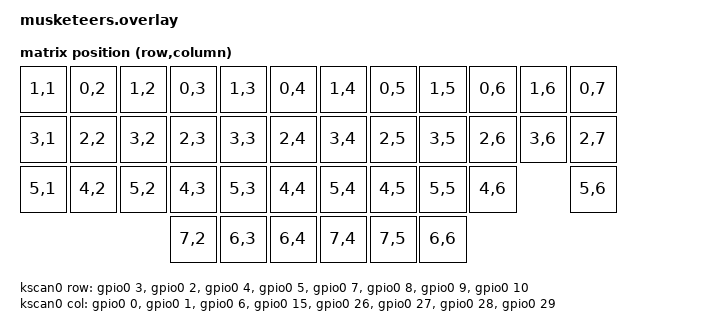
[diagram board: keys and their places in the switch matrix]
#include <dt-bindings/zmk/matrix_transform.h>

/ {
    chosen {
        zmk,kscan = &kscan0;
        zmk,matrix_transform = &default_transform;
    };

    default_transform: keymap_transform_0 {
        compatible = "zmk,matrix-transform";
        columns = <8>;
        rows = <8>;
//             | SW01  | SW02  | SW03  | SW04       SW25  | SW26  | SW27  | SW28  |
//      | SW09 | SW05  | SW06  | SW07  | SW08       SW21  | SW22  | SW23  | SW24  | SW20
//             | SW10  | SW11  | SW12                       SW17  | SW18  | SW19  |
//                             | SW13  | SW14       SW15  | SW16  |
        map = <
        RC(1,1) RC(0,2) RC(1,2) RC(0,3) RC(1,3) RC(0,4) RC(1,4) RC(0,5) RC(1,5) RC(0,6) RC(1,6) RC(0,7)
        RC(3,1) RC(2,2) RC(3,2) RC(2,3) RC(3,3) RC(2,4) RC(3,4) RC(2,5) RC(3,5) RC(2,6) RC(3,6) RC(2,7)
        RC(5,1)    RC(4,2) RC(5,2) RC(4,3) RC(5,3) RC(4,4) RC(5,4) RC(4,5) RC(5,5) RC(4,6)      RC(5,6)
                                RC(7,2) RC(6,3) RC(6,4) RC(7,4) RC(7,5) RC(6,6)
        >;
    };

    kscan0: kscan_0 {
        compatible = "zmk,kscan-gpio-matrix";
        label = "KSCAN";
        diode-direction = "col2row";

        col-gpios
            = <&gpio0 0 GPIO_ACTIVE_HIGH>
            , <&gpio0 1 GPIO_ACTIVE_HIGH>
            , <&gpio0 6 GPIO_ACTIVE_HIGH>
            , <&gpio0 15 GPIO_ACTIVE_HIGH>
            , <&gpio0 26 GPIO_ACTIVE_HIGH>
            , <&gpio0 27 GPIO_ACTIVE_HIGH>
            , <&gpio0 28 GPIO_ACTIVE_HIGH>
            , <&gpio0 29 GPIO_ACTIVE_HIGH>
            ;

        row-gpios
            = <&gpio0 3 (GPIO_ACTIVE_HIGH | GPIO_PULL_DOWN)>
            , <&gpio0 2 (GPIO_ACTIVE_HIGH | GPIO_PULL_DOWN)>
            , <&gpio0 4 (GPIO_ACTIVE_HIGH | GPIO_PULL_DOWN)>
            , <&gpio0 5 (GPIO_ACTIVE_HIGH | GPIO_PULL_DOWN)>
            , <&gpio0 7 (GPIO_ACTIVE_HIGH | GPIO_PULL_DOWN)>
            , <&gpio0 8 (GPIO_ACTIVE_HIGH | GPIO_PULL_DOWN)>
            , <&gpio0 9 (GPIO_ACTIVE_HIGH | GPIO_PULL_DOWN)>
            , <&gpio0 10 (GPIO_ACTIVE_HIGH | GPIO_PULL_DOWN)>
            ;
    };
};
